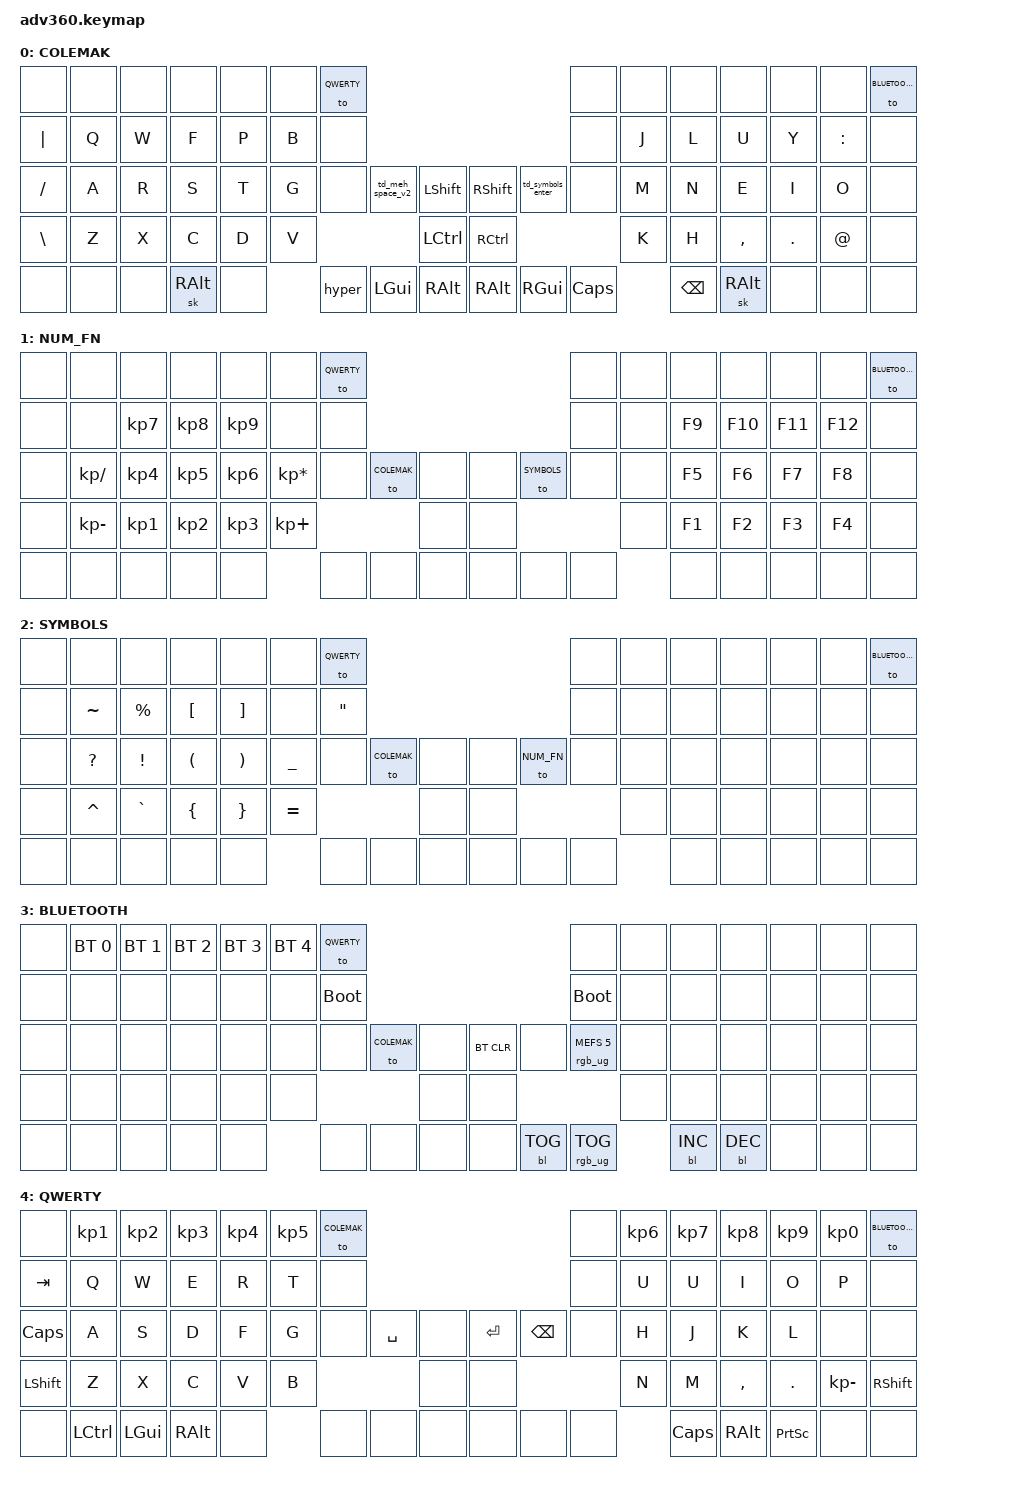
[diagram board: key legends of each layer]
/*
 * Copyright (c) 2020 The ZMK Contributors
 *
 * SPDX-License-Identifier: MIT
 */

#include <behaviors.dtsi>
#include <dt-bindings/zmk/backlight.h>
#include <dt-bindings/zmk/bt.h>
#include <dt-bindings/zmk/keys.h>
#include <dt-bindings/zmk/rgb.h>

#define COLEMAK     0
#define NUM_FN      1
#define BLUETOOTH   2
#define SYMBOLS     3
#define QWERTY      4
#define NOR_TAP_MS 10
#define NOR_WAIT_MS 10

/ {
    behaviors {
        #include "macros.dtsi"

        hm: homerow_mods {
            compatible = "zmk,behavior-hold-tap";
            label = "HOMEROW_MODS";
            #binding-cells = <2>;
            tapping-term-ms = <200>;
            quick_tap_ms = <175>;
            flavor = "tap-preferred";
            bindings = <&kp>, <&kp>;
        };

        td_symbols_enter: td_symbols_enter {
            compatible = "zmk,behavior-tap-dance";
            label = "td_symbols_enter";
            #binding-cells = <0>;
            tapping-term-ms = <200>;
            bindings = <&to 2>, <&kp ENTER>;
        };

        td_meh_space: td_meh_space {
            compatible = "zmk,behavior-tap-dance";
            label = "td_meh_space";
            #binding-cells = <0>;
            tapping-term-ms = <200>;
            bindings = <&mt &meh SPACE>;
        };

        td_meh_space_v2: td_meh_space_v2 {
            compatible = "zmk,behavior-tap-dance";
            label = "TD_MEH_SPACE_V2";
            #binding-cells = <0>;
            bindings = <&kp SPACE>, <&meh>;
        };
    };

    macros {
        meh: meh {
            compatible = "zmk,behavior-macro";
            label = "meh";
            #binding-cells = <0>;
            bindings =
                <&macro_press>,
                <&kp LCTRL &kp LALT &kp LSHIFT>,
                <&macro_release>,
                <&kp LCTRL &kp LALT &kp LSHIFT>,
                <&macro_press>;
        };

        hyper: hyper {
            compatible = "zmk,behavior-macro";
            label = "hyper";
            #binding-cells = <0>;
            bindings =
                <&macro_press>,
                <&kp LCTRL &kp LALT &kp LSHIFT &kp LEFT_GUI>,
                <&macro_release>,
                <&kp LCTRL &kp LALT &kp LSHIFT &kp LEFT_GUI>;
        };
    };

    keymap {
        compatible = "zmk,keymap";

        COLEMAK {
            bindings = <
&none      &none  &none  &none     &none  &none  &to QWERTY                                                                   &none         &none  &none          &none      &none    &none      &to BLUETOOTH
&kp PIPE   &kp Q  &kp W  &kp F     &kp P  &kp B  &none                                                                        &none         &kp J  &kp L          &kp U      &kp Y    &kp COLON  &none
&kp SLASH  &kp A  &kp R  &kp S     &kp T  &kp G  &none       &td_meh_space_v2  &kp LSHIFT      &kp RSHIFT  &td_symbols_enter  &none         &kp M  &kp N          &kp E      &kp I    &kp O      &none
&kp BSLH   &kp Z  &kp X  &kp C     &kp D  &kp V                                &kp LCTRL       &kp RCTRL                                    &kp K  &kp H          &kp COMMA  &kp DOT  &kp AT     &none
&none      &none  &none  &sk RALT  &none         &hyper      &kp LGUI          &kp RALT        &kp RALT    &kp RGUI           &kp CAPSLOCK         &kp BACKSPACE  &sk RALT   &none    &none      &none
            >;
        };

        NUM_FN {
            bindings = <
&none  &none         &none      &none      &none      &none            &to QWERTY                                              &none  &none  &none   &none    &none    &none    &to BLUETOOTH
&none  &none         &kp KP_N7  &kp KP_N8  &kp KP_N9  &none            &none                                                   &none  &none  &kp F9  &kp F10  &kp F11  &kp F12  &none
&none  &kp KP_SLASH  &kp KP_N4  &kp KP_N5  &kp KP_N6  &kp KP_MULTIPLY  &none       &to COLEMAK  &none      &none  &to SYMBOLS  &none  &none  &kp F5  &kp F6   &kp F7   &kp F8   &none
&none  &kp KP_MINUS  &kp KP_N1  &kp KP_N2  &kp KP_N3  &kp KP_PLUS                               &none      &none                      &none  &kp F1  &kp F2   &kp F3   &kp F4   &none
&none  &none         &none      &none      &none                       &none       &none        &none      &none  &none        &none         &none   &none    &none    &none    &none
            >;
        };

        SYMBOLS {
            bindings = <
&none  &none      &none        &none     &none     &none      &to QWERTY                                             &none  &none  &none  &none  &none  &none  &to BLUETOOTH
&none  &kp TILDE  &kp PERCENT  &kp LBKT  &kp RBKT  &none      &kp DQT                                                &none  &none  &none  &none  &none  &none  &none
&none  &kp QMARK  &kp EXCL     &kp LPAR  &kp RPAR  &kp UNDER  &none       &to COLEMAK  &none      &none  &to NUM_FN  &none  &none  &none  &none  &none  &none  &none
&none  &kp CARET  &kp GRAVE    &kp LBRC  &kp RBRC  &kp EQUAL                           &none      &none                     &none  &none  &none  &none  &none  &none
&none  &none      &none        &none     &none                &none       &none        &none      &none  &none       &none         &none  &none  &none  &none  &none
            >;
        };

        BLUETOOTH {
            bindings = <
&none  &bt BT_SEL 0  &bt BT_SEL 1  &bt BT_SEL 2  &bt BT_SEL 3  &bt BT_SEL 4  &to QWERTY                                                   &none                   &none  &none       &none       &none  &none  &none
&none  &none         &none         &none         &none         &none         &bootloader                                                  &bootloader             &none  &none       &none       &none  &none  &none
&none  &none         &none         &none         &none         &none         &none        &to COLEMAK  &none      &bt BT_CLR  &none       &rgb_ug RGB_MEFS_CMD 5  &none  &none       &none       &none  &none  &none
&none  &none         &none         &none         &none         &none                                   &none      &none                                           &none  &none       &none       &none  &none  &none
&none  &none         &none         &none         &none                       &none        &none        &none      &none       &bl BL_TOG  &rgb_ug RGB_TOG                &bl BL_INC  &bl BL_DEC  &none  &none  &none
            >;
        };

        QWERTY {
            bindings = <
&none       &kp KP_N1  &kp KP_N2  &kp KP_N3  &kp KP_N4  &kp KP_N5  &to COLEMAK                                                  &none  &kp KP_N6  &kp KP_N7     &kp KP_N8  &kp KP_N9  &kp KP_N0     &to BLUETOOTH
&kp TAB     &kp Q      &kp W      &kp E      &kp R      &kp T      &none                                                        &none  &kp U      &kp U         &kp I      &kp O      &kp P         &none
&kp CAPS    &kp A      &kp S      &kp D      &kp F      &kp G      &none        &kp SPACE  &none      &kp ENTER  &kp BACKSPACE  &none  &kp H      &kp J         &kp K      &kp L      &none         &none
&kp LSHIFT  &kp Z      &kp X      &kp C      &kp V      &kp B                              &none      &none                            &kp N      &kp M         &kp COMMA  &kp DOT    &kp KP_MINUS  &kp RSHIFT
&none       &kp LCTRL  &kp LGUI   &kp RALT   &none                 &none        &none      &none      &none      &none          &none             &kp CAPSLOCK  &kp RALT   &kp PSCRN  &none         &none
            >;
        };
    };
};
